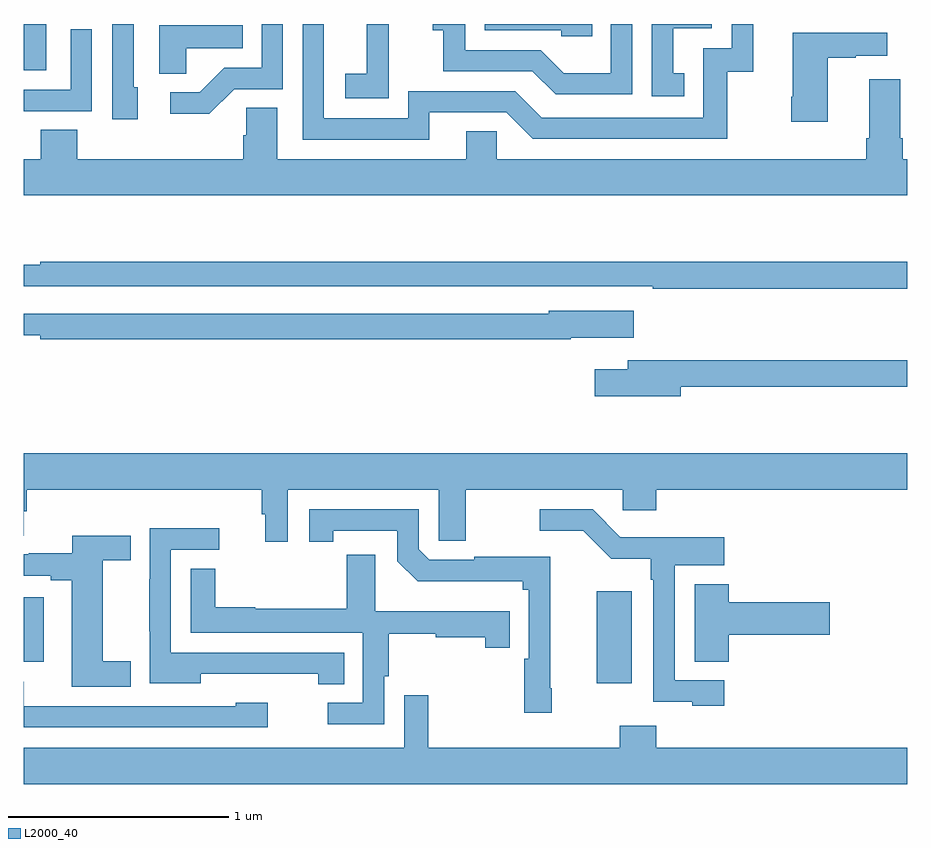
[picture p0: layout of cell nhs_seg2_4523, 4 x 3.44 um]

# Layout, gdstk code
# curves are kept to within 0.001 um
import gdstk
lib = gdstk.Library(unit=1e-6, precision=1e-09)
def R(c, l, rs):  # rectangles x0, y0, x1, y1
    for r in rs: c.add(gdstk.rectangle(r[:2], r[2:], *l))
def P(c, l, *ps):  # polygons
    for p in ps: c.add(gdstk.Polygon(p, *l))
L2000_40 = (2000, 40)

nhs_seg2_4523 = lib.new_cell('nhs_seg2_4523')
R(nhs_seg2_4523, L2000_40, [(359.594,590.817,359.752,591.232), (357,590.913,357.09,591.205), (357,593.591,357.103,593.8)])
P(nhs_seg2_4523, L2000_40, [(357.954,593.505),(358.173,593.505),(358.173,593.8),(358.077,593.8),(358.077,593.601),(357.908,593.601),(357.797,593.49),(357.663,593.49),(357.663,593.393),(357.841,593.393)],
  [(359.754,593.8),(359.658,593.8),(359.658,593.578),(359.444,593.578),(359.34,593.682),(358.998,593.682),(358.998,593.8),(358.851,593.8),(358.851,593.771),(358.9,593.771),(358.9,593.586),(359.303,593.586),(359.408,593.481),(359.754,593.481)],
  [(359.573,593.8),(359.088,593.8),(359.088,593.772),(359.433,593.772),(359.433,593.745),(359.573,593.745)],
  [(358.653,593.671),(358.652,593.671),(358.652,593.8),(358.553,593.8),(358.553,593.575),(358.455,593.575),(358.455,593.465),(358.653,593.465)],
  [(358.837,593.4),(359.184,593.4),(359.304,593.28),(360.184,593.28),(360.184,593.583),(360.302,593.583),(360.302,593.8),(360.204,593.8),(360.204,593.691),(360.075,593.691),(360.075,593.376),(359.346,593.376),(359.226,593.496),(358.74,593.496),(358.74,593.373),(358.359,593.373),(358.359,593.8),(358.263,593.8),(358.263,593.277),(358.837,593.277)],
  [(357.517,593.514),(357.498,593.514),(357.498,593.8),(357.402,593.8),(357.402,593.37),(357.517,593.37)],
  [(359.99,593.577),(359.941,593.577),(359.941,593.781),(360.114,593.781),(360.114,593.8),(359.844,593.8),(359.844,593.472),(359.99,593.472)],
  [(357.735,593.69),(357.992,593.69),(357.992,593.794),(357.614,593.794),(357.614,593.575),(357.735,593.575)],
  [(357.309,593.776),(357.213,593.776),(357.213,593.502),(357,593.502),(357,593.406),(357.309,593.406)],
  [(360.64,593.647),(360.767,593.647),(360.767,593.657),(360.91,593.657),(360.91,593.761),(360.482,593.761),(360.482,593.47),(360.475,593.47),(360.475,593.358),(360.64,593.358)],
  [(361,593.188),(360.98,593.188),(360.98,593.284),(360.967,593.284),(360.967,593.551),(360.827,593.551),(360.827,593.284),(360.815,593.284),(360.815,593.188),(359.142,593.188),(359.142,593.315),(359.003,593.315),(359.003,593.188),(358.147,593.188),(358.147,593.42),(358.008,593.42),(358.008,593.297),(357.995,593.297),(357.995,593.188),(357.242,593.188),(357.242,593.321),(357.077,593.321),(357.077,593.188),(357,593.188),(357,593.024),(361,593.024)],
  [(361,592.723),(357.076,592.723),(357.076,592.71),(357,592.71),(357,592.614),(359.848,592.614),(359.848,592.602),(361,592.602)],
  [(359.476,592.379),(359.761,592.379),(359.761,592.501),(359.376,592.501),(359.376,592.488),(357,592.488),(357,592.391),(357.076,592.391),(357.076,592.372),(359.476,592.372)],
  [(359.974,592.158),(361,592.158),(361,592.279),(359.735,592.279),(359.735,592.237),(359.586,592.237),(359.586,592.115),(359.974,592.115)],
  [(358.195,591.692),(358.878,591.692),(358.878,591.46),(359.001,591.46),(359.001,591.692),(359.712,591.692),(359.712,591.599),(359.864,591.599),(359.864,591.692),(361,591.692),(361,591.856),(357,591.856),(357,591.484),(357.001,591.484),(357.001,591.594),(357.014,591.594),(357.014,591.692),(358.077,591.692),(358.077,591.582),(358.094,591.582),(358.094,591.456),(358.195,591.456)],
  [(360.172,590.829),(359.946,590.829),(359.946,591.35),(360.172,591.35),(360.172,591.478),(359.701,591.477),(359.575,591.603),(359.337,591.603),(359.337,591.506),(359.534,591.506),(359.66,591.38),(359.838,591.38),(359.838,591.284),(359.85,591.284),(359.85,590.733),(360.027,590.733),(360.027,590.714),(360.172,590.714)],
  [(359.39,590.794),(359.384,590.794),(359.384,591.388),(359.039,591.388),(359.039,591.375),(358.836,591.375),(358.788,591.423),(358.788,591.603),(358.293,591.603),(358.293,591.456),(358.402,591.456),(358.402,591.507),(358.692,591.507),(358.692,591.369),(358.783,591.278),(359.258,591.278),(359.258,591.24),(359.286,591.24),(359.286,590.926),(359.266,590.926),(359.266,590.682),(359.39,590.682)],
  [(358.451,590.955),(357.666,590.955),(357.666,591.42),(357.886,591.42),(357.886,591.517),(357.57,591.517),(357.57,591.287),(357.569,591.287),(357.569,591.052),(357.57,591.052),(357.57,590.816),(357.802,590.816),(357.802,590.858),(358.333,590.858),(358.333,590.812),(358.451,590.812)],
  [(357.485,590.916),(357.358,590.916),(357.358,591.373),(357.485,591.373),(357.485,591.484),(357.221,591.484),(357.221,591.404),(357.024,591.404),(357.024,591.399),(357,591.399),(357,591.303),(357.122,591.303),(357.122,591.283),(357.218,591.283),(357.218,590.801),(357.485,590.801)],
  [(358.632,590.848),(358.652,590.848),(358.652,591.04),(358.866,591.04),(358.866,591.025),(359.09,591.025),(359.09,590.976),(359.201,590.976),(359.201,591.142),(358.591,591.142),(358.591,591.397),(358.463,591.397),(358.463,591.154),(358.049,591.154),(358.049,591.161),(357.868,591.161),(357.868,591.335),(357.756,591.335),(357.756,591.045),(358.536,591.045),(358.536,590.727),(358.377,590.727),(358.377,590.631),(358.632,590.631)],
  [(360.191,591.035),(360.649,591.035),(360.649,591.182),(360.191,591.182),(360.191,591.265),(360.038,591.265),(360.038,590.914),(360.191,590.914)],
  [(358.105,590.728),(357.96,590.728),(357.96,590.712),(357.001,590.712),(357.001,590.823),(357,590.823),(357,590.616),(358.105,590.616)],
  [(361,590.524),(359.864,590.524),(359.864,590.623),(359.699,590.623),(359.699,590.524),(358.831,590.524),(358.831,590.761),(358.722,590.761),(358.722,590.524),(357,590.524),(357,590.36),(361,590.36)])

lib.write_gds('nhs_seg2_4523.gds')
